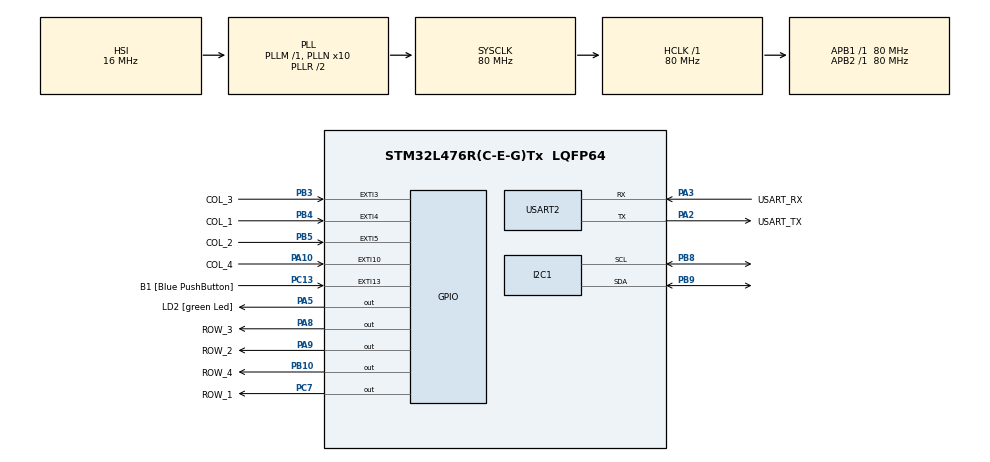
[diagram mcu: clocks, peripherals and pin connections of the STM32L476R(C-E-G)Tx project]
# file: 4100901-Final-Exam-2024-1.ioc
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I2C1.Timing=0x10909CEC
Mcu.Family=STM32L4
Mcu.Name=STM32L476R(C-E-G)Tx
Mcu.Package=LQFP64
NVIC.EXTI15_10_IRQn=true\:0\:0\:false\:false\:true\:true\:true\:true
NVIC.EXTI3_IRQn=true\:0\:0\:false\:false\:true\:true\:true\:true
NVIC.EXTI4_IRQn=true\:0\:0\:false\:false\:true\:true\:true\:true
NVIC.EXTI9_5_IRQn=true\:0\:0\:false\:false\:true\:true\:true\:true
NVIC.PriorityGroup=NVIC_PRIORITYGROUP_4
NVIC.USART2_IRQn=true\:0\:0\:false\:false\:true\:true\:true\:true
PA10.GPIO_Label=COL_4
PA10.GPIO_ModeDefaultEXTI=GPIO_MODE_IT_RISING
PA10.GPIO_PuPd=GPIO_PULLDOWN
PA10.Signal=GPXTI10
PA13\ (JTMS-SWDIO).GPIO_Label=TMS
PA13\ (JTMS-SWDIO).Mode=Serial_Wire
PA13\ (JTMS-SWDIO).Signal=SYS_JTMS-SWDIO
PA14\ (JTCK-SWCLK).GPIO_Label=TCK
PA14\ (JTCK-SWCLK).Mode=Serial_Wire
PA14\ (JTCK-SWCLK).Signal=SYS_JTCK-SWCLK
PA2.GPIO_Label=USART_TX
PA2.GPIO_Mode=GPIO_MODE_AF_PP
PA2.GPIO_PuPd=GPIO_NOPULL
PA2.GPIO_Speed=GPIO_SPEED_FREQ_VERY_HIGH
PA2.Mode=Asynchronous
PA2.Signal=USART2_TX
PA3.GPIO_Label=USART_RX
PA3.GPIO_Mode=GPIO_MODE_AF_PP
PA3.GPIO_PuPd=GPIO_NOPULL
PA3.GPIO_Speed=GPIO_SPEED_FREQ_VERY_HIGH
PA3.Mode=Asynchronous
PA3.Signal=USART2_RX
PA5.GPIO_Label=LD2 [green Led]
PA5.GPIO_ModeDefaultOutputPP=GPIO_MODE_OUTPUT_PP
PA5.GPIO_PuPd=GPIO_NOPULL
PA5.GPIO_Speed=GPIO_SPEED_FREQ_LOW
PA5.Signal=GPIO_Output
PA8.GPIO_Label=ROW_3
PA8.GPIO_Speed=GPIO_SPEED_FREQ_VERY_HIGH
PA8.PinState=GPIO_PIN_SET
PA8.Signal=GPIO_Output
PA9.GPIO_Label=ROW_2
PA9.GPIO_Speed=GPIO_SPEED_FREQ_VERY_HIGH
PA9.PinState=GPIO_PIN_SET
PA9.Signal=GPIO_Output
PB10.GPIO_Label=ROW_4
PB10.GPIO_Speed=GPIO_SPEED_FREQ_VERY_HIGH
PB10.PinState=GPIO_PIN_SET
PB10.Signal=GPIO_Output
PB3\ (JTDO-TRACESWO).GPIO_Label=COL_3
PB3\ (JTDO-TRACESWO).GPIO_ModeDefaultEXTI=GPIO_MODE_IT_RISING
PB3\ (JTDO-TRACESWO).GPIO_PuPd=GPIO_PULLDOWN
PB3\ (JTDO-TRACESWO).Signal=GPXTI3
PB4\ (NJTRST).GPIO_Label=COL_1
PB4\ (NJTRST).GPIO_ModeDefaultEXTI=GPIO_MODE_IT_RISING
PB4\ (NJTRST).GPIO_PuPd=GPIO_PULLDOWN
PB4\ (NJTRST).Signal=GPXTI4
PB5.GPIO_Label=COL_2
PB5.GPIO_ModeDefaultEXTI=GPIO_MODE_IT_RISING
PB5.GPIO_PuPd=GPIO_PULLDOWN
PB5.Signal=GPXTI5
PB8.Mode=I2C
PB8.Signal=I2C1_SCL
PB9.Mode=I2C
PB9.Signal=I2C1_SDA
PC13.GPIO_Label=B1 [Blue PushButton]
PC13.GPIO_ModeDefaultEXTI=GPIO_MODE_IT_FALLING
PC13.GPIO_PuPd=GPIO_NOPULL
PC13.Signal=GPXTI13
PC14-OSC32_IN\ (PC14).Mode=LSE-External-Oscillator
PC14-OSC32_IN\ (PC14).Signal=RCC_OSC32_IN
PC15-OSC32_OUT\ (PC15).Mode=LSE-External-Oscillator
PC15-OSC32_OUT\ (PC15).Signal=RCC_OSC32_OUT
PC7.GPIO_Label=ROW_1
PC7.GPIO_Speed=GPIO_SPEED_FREQ_VERY_HIGH
PC7.PinState=GPIO_PIN_SET
PC7.Signal=GPIO_Output
PH0-OSC_IN\ (PH0).Signal=RCC_OSC_IN
PH1-OSC_OUT\ (PH1).Signal=RCC_OSC_OUT
ProjectManager.HeapSize=0x200
ProjectManager.StackSize=0x400
ProjectManager.TargetToolchain=STM32CubeIDE
RCC.ADCFreq_Value=64000000
RCC.AHBFreq_Value=80000000
RCC.APB1Freq_Value=80000000
RCC.APB1TimFreq_Value=80000000
RCC.APB2Freq_Value=80000000
RCC.APB2TimFreq_Value=80000000
RCC.CortexFreq_Value=80000000
RCC.HCLKFreq_Value=80000000
RCC.HSE_VALUE=8000000
RCC.HSI_VALUE=16000000
RCC.MSI_VALUE=4000000
RCC.PLLN=10
RCC.PLLSourceVirtual=RCC_PLLSOURCE_HSI
RCC.PREFETCH_ENABLE=1
RCC.SYSCLKFreq_VALUE=80000000
RCC.SYSCLKSource=RCC_SYSCLKSOURCE_PLLCLK
RCC.USBFreq_Value=64000000
RCC.VCOOutputFreq_Value=160000000
USART2.VirtualMode-Asynchronous=VM_ASYNC
board=NUCLEO-L476RG

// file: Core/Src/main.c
/* USER CODE BEGIN Header */
/**
  ******************************************************************************
  * @file           : main.c
  * @brief          : Main program body
  ******************************************************************************
  * @attention
  *
  * Copyright (c) 2024 STMicroelectronics.
  * All rights reserved.
  *
  * This software is licensed under terms that can be found in the LICENSE file
  * in the root directory of this software component.
  * If no LICENSE file comes with this software, it is provided AS-IS.
  *
  ******************************************************************************
  */
/* USER CODE END Header */
#include "main.h"

/* USER CODE BEGIN Includes */
#include <stdio.h>

#include "ssd1306.h"
#include "ssd1306_fonts.h"

#include "ring_buffer.h"
#include "keypad.h"
/* USER CODE END Includes */

I2C_HandleTypeDef hi2c1;

UART_HandleTypeDef huart2;

/* USER CODE BEGIN PV */
#define DISPLAY_BUFFER_LEN 6  // Para mostrar hasta 6 caracteres (ajustar si es necesario)

char usart2_display_buffer[DISPLAY_BUFFER_LEN] = {0};  // Buffer para los datos del USART2
char keypad_display_buffer[DISPLAY_BUFFER_LEN] = {0};  // Buffer para los datos del keypad

#define KEYPAD_RB_LEN 4
uint8_t keypad_data = 0xFF;
uint8_t keypad_buffer[KEYPAD_RB_LEN];
ring_buffer_t keypad_rb;

#define USART2_RB_LEN 6
uint8_t usart2_data = 0xFF;
uint8_t usart2_buffer[USART2_RB_LEN];
ring_buffer_t usart2_rb	;
/* USER CODE END PV */

void SystemClock_Config(void);
static void MX_GPIO_Init(void);
static void MX_USART2_UART_Init(void);
static void MX_I2C1_Init(void);

/* USER CODE BEGIN 0 */
int _write(int file, char *ptr, int len)
{
  HAL_UART_Transmit(&huart2, (uint8_t *)ptr, len, 10);
  return len;
}

void HAL_UART_RxCpltCallback(UART_HandleTypeDef *huart)
{
    if (huart->Instance == USART2) {
        // Si el dato es un dígito válido (0-9)
        if (usart2_data >= '0' && usart2_data <= '9') {
            // Mover los datos hacia la izquierda para hacer espacio para el nuevo
            for (int i = 0; i < DISPLAY_BUFFER_LEN - 1; i++) {
                usart2_display_buffer[i] = usart2_display_buffer[i + 1];
            }
            usart2_display_buffer[DISPLAY_BUFFER_LEN - 1] = usart2_data; // Guardar el nuevo dato

            actualizar_pantalla(); // Actualizar la pantalla
        }

        // Volver a habilitar la recepción por interrupción
        HAL_UART_Receive_IT(&huart2, &usart2_data, 1);
    }
}
void limpiar_buffer_usart2(void)
{
    memset(usart2_display_buffer, 0, sizeof(usart2_display_buffer));
}

void limpiar_buffer_keypad(void)
{
    memset(keypad_display_buffer, 0, sizeof(keypad_display_buffer));
}

void HAL_GPIO_EXTI_Callback(uint16_t GPIO_Pin)
{
    uint8_t key_pressed = keypad_scan(GPIO_Pin); // Escanear la tecla presionada
    if (key_pressed != 0xFF) {  // Si una tecla fue presionada
        if (key_pressed == '#') {
            // Reiniciar el buffer de USART2
            limpiar_buffer_usart2();
            actualizar_pantalla();
        } else if (key_pressed == '*') {
            // Reiniciar el buffer del keypad
            limpiar_buffer_keypad();
            actualizar_pantalla();
        } else {
            // Mover los datos hacia la izquierda para hacer espacio para el nuevo
            for (int i = 0; i < DISPLAY_BUFFER_LEN - 1; i++) {
                keypad_display_buffer[i] = keypad_display_buffer[i + 1];
            }
            keypad_display_buffer[DISPLAY_BUFFER_LEN - 1] = key_pressed; // Guardar la tecla presionada

            // Actualizar la pantalla inmediatamente después de agregar el nuevo dígito
            actualizar_pantalla(); // Aseguramos que se llame a la función aquí
        }
    }
}

void actualizar_pantalla(void)
{
    ssd1306_Fill(Black); // Limpiar la pantalla

    // Mostrar datos de USART2
    ssd1306_SetCursor(0, 0);
    ssd1306_WriteString("USART2:", Font_7x10, White);
    ssd1306_SetCursor(60, 0);
    ssd1306_WriteString(usart2_display_buffer, Font_7x10, White);

    // Mostrar datos del keypad
    ssd1306_SetCursor(0, 20);
    ssd1306_WriteString("Keypad:", Font_7x10, White);
    ssd1306_SetCursor(60, 20);
    ssd1306_WriteString(keypad_display_buffer, Font_7x10, White);

    // Actualizar la pantalla OLED
    ssd1306_UpdateScreen();
}

/* USER CODE END 0 */

int main(void)
{

  /* MCU Configuration--------------------------------------------------------*/

  /* Reset of all peripherals, Initializes the Flash interface and the Systick. */
  HAL_Init();

  /* Configure the system clock */
  SystemClock_Config();

  /* Initialize all configured peripherals */
  MX_GPIO_Init();
  MX_USART2_UART_Init();
  MX_I2C1_Init();
  /* USER CODE BEGIN 2 */
  ssd1306_Init();
  ssd1306_Fill(Black);
  ssd1306_SetCursor(20, 20);
  ssd1306_WriteString("Welcome!", Font_7x10, White);
  ssd1306_UpdateScreen();

  HAL_UART_Receive_IT(&huart2, &usart2_data, 1);

  ring_buffer_init(&usart2_rb, usart2_buffer, USART2_RB_LEN);
  ring_buffer_init(&keypad_rb, keypad_buffer, KEYPAD_RB_LEN);
  /* USER CODE END 2 */

  /* Infinite loop */
  /* USER CODE BEGIN WHILE */
  printf("Starting\r\n");
  while (1)
  {
    /* USER CODE END WHILE */

  }
}

void SystemClock_Config(void)
{
  RCC_OscInitTypeDef RCC_OscInitStruct = {0};
  RCC_ClkInitTypeDef RCC_ClkInitStruct = {0};

  /** Configure the main internal regulator output voltage
  */
  if (HAL_PWREx_ControlVoltageScaling(PWR_REGULATOR_VOLTAGE_SCALE1) != HAL_OK)
  {
    Error_Handler();
  }

  /** Initializes the RCC Oscillators according to the specified parameters
  * in the RCC_OscInitTypeDef structure.
  */
  RCC_OscInitStruct.OscillatorType = RCC_OSCILLATORTYPE_HSI;
  RCC_OscInitStruct.HSIState = RCC_HSI_ON;
  RCC_OscInitStruct.HSICalibrationValue = RCC_HSICALIBRATION_DEFAULT;
  RCC_OscInitStruct.PLL.PLLState = RCC_PLL_ON;
  RCC_OscInitStruct.PLL.PLLSource = RCC_PLLSOURCE_HSI;
  RCC_OscInitStruct.PLL.PLLM = 1;
  RCC_OscInitStruct.PLL.PLLN = 10;
  RCC_OscInitStruct.PLL.PLLP = RCC_PLLP_DIV7;
  RCC_OscInitStruct.PLL.PLLQ = RCC_PLLQ_DIV2;
  RCC_OscInitStruct.PLL.PLLR = RCC_PLLR_DIV2;
  if (HAL_RCC_OscConfig(&RCC_OscInitStruct) != HAL_OK)
  {
    Error_Handler();
  }

  /** Initializes the CPU, AHB and APB buses clocks
  */
  RCC_ClkInitStruct.ClockType = RCC_CLOCKTYPE_HCLK|RCC_CLOCKTYPE_SYSCLK
                              |RCC_CLOCKTYPE_PCLK1|RCC_CLOCKTYPE_PCLK2;
  RCC_ClkInitStruct.SYSCLKSource = RCC_SYSCLKSOURCE_PLLCLK;
  RCC_ClkInitStruct.AHBCLKDivider = RCC_SYSCLK_DIV1;
  RCC_ClkInitStruct.APB1CLKDivider = RCC_HCLK_DIV1;
  RCC_ClkInitStruct.APB2CLKDivider = RCC_HCLK_DIV1;

  if (HAL_RCC_ClockConfig(&RCC_ClkInitStruct, FLASH_LATENCY_4) != HAL_OK)
  {
    Error_Handler();
  }
}

static void MX_I2C1_Init(void)
{

  hi2c1.Instance = I2C1;
  hi2c1.Init.Timing = 0x10909CEC;
  hi2c1.Init.OwnAddress1 = 0;
  hi2c1.Init.AddressingMode = I2C_ADDRESSINGMODE_7BIT;
  hi2c1.Init.DualAddressMode = I2C_DUALADDRESS_DISABLE;
  hi2c1.Init.OwnAddress2 = 0;
  hi2c1.Init.OwnAddress2Masks = I2C_OA2_NOMASK;
  hi2c1.Init.GeneralCallMode = I2C_GENERALCALL_DISABLE;
  hi2c1.Init.NoStretchMode = I2C_NOSTRETCH_DISABLE;
  if (HAL_I2C_Init(&hi2c1) != HAL_OK)
  {
    Error_Handler();
  }

  /** Configure Analogue filter
  */
  if (HAL_I2CEx_ConfigAnalogFilter(&hi2c1, I2C_ANALOGFILTER_ENABLE) != HAL_OK)
  {
    Error_Handler();
  }

  /** Configure Digital filter
  */
  if (HAL_I2CEx_ConfigDigitalFilter(&hi2c1, 0) != HAL_OK)
  {
    Error_Handler();
  }

}

static void MX_USART2_UART_Init(void)
{

  huart2.Instance = USART2;
  huart2.Init.BaudRate = 256000;
  huart2.Init.WordLength = UART_WORDLENGTH_8B;
  huart2.Init.StopBits = UART_STOPBITS_1;
  huart2.Init.Parity = UART_PARITY_NONE;
  huart2.Init.Mode = UART_MODE_TX_RX;
  huart2.Init.HwFlowCtl = UART_HWCONTROL_NONE;
  huart2.Init.OverSampling = UART_OVERSAMPLING_16;
  huart2.Init.OneBitSampling = UART_ONE_BIT_SAMPLE_DISABLE;
  huart2.AdvancedInit.AdvFeatureInit = UART_ADVFEATURE_NO_INIT;
  if (HAL_UART_Init(&huart2) != HAL_OK)
  {
    Error_Handler();
  }

}

static void MX_GPIO_Init(void)
{
  GPIO_InitTypeDef GPIO_InitStruct = {0};

  /* GPIO Ports Clock Enable */
  __HAL_RCC_GPIOC_CLK_ENABLE();
  __HAL_RCC_GPIOH_CLK_ENABLE();
  __HAL_RCC_GPIOA_CLK_ENABLE();
  __HAL_RCC_GPIOB_CLK_ENABLE();

  /*Configure GPIO pin Output Level */
  HAL_GPIO_WritePin(LD2_GPIO_Port, LD2_Pin, GPIO_PIN_RESET);

  /*Configure GPIO pin Output Level */
  HAL_GPIO_WritePin(ROW_4_GPIO_Port, ROW_4_Pin, GPIO_PIN_SET);

  /*Configure GPIO pin Output Level */
  HAL_GPIO_WritePin(ROW_1_GPIO_Port, ROW_1_Pin, GPIO_PIN_SET);

  /*Configure GPIO pin Output Level */
  HAL_GPIO_WritePin(GPIOA, ROW_3_Pin|ROW_2_Pin, GPIO_PIN_SET);

  /*Configure GPIO pin : B1_Pin */
  GPIO_InitStruct.Pin = B1_Pin;
  GPIO_InitStruct.Mode = GPIO_MODE_IT_FALLING;
  GPIO_InitStruct.Pull = GPIO_NOPULL;
  HAL_GPIO_Init(B1_GPIO_Port, &GPIO_InitStruct);

  /*Configure GPIO pin : LD2_Pin */
  GPIO_InitStruct.Pin = LD2_Pin;
  GPIO_InitStruct.Mode = GPIO_MODE_OUTPUT_PP;
  GPIO_InitStruct.Pull = GPIO_NOPULL;
  GPIO_InitStruct.Speed = GPIO_SPEED_FREQ_LOW;
  HAL_GPIO_Init(LD2_GPIO_Port, &GPIO_InitStruct);

  /*Configure GPIO pin : ROW_4_Pin */
  GPIO_InitStruct.Pin = ROW_4_Pin;
  GPIO_InitStruct.Mode = GPIO_MODE_OUTPUT_PP;
  GPIO_InitStruct.Pull = GPIO_NOPULL;
  GPIO_InitStruct.Speed = GPIO_SPEED_FREQ_VERY_HIGH;
  HAL_GPIO_Init(ROW_4_GPIO_Port, &GPIO_InitStruct);

  /*Configure GPIO pin : ROW_1_Pin */
  GPIO_InitStruct.Pin = ROW_1_Pin;
  GPIO_InitStruct.Mode = GPIO_MODE_OUTPUT_PP;
  GPIO_InitStruct.Pull = GPIO_NOPULL;
  GPIO_InitStruct.Speed = GPIO_SPEED_FREQ_VERY_HIGH;
  HAL_GPIO_Init(ROW_1_GPIO_Port, &GPIO_InitStruct);

  /*Configure GPIO pins : ROW_3_Pin ROW_2_Pin */
  GPIO_InitStruct.Pin = ROW_3_Pin|ROW_2_Pin;
  GPIO_InitStruct.Mode = GPIO_MODE_OUTPUT_PP;
  GPIO_InitStruct.Pull = GPIO_NOPULL;
  GPIO_InitStruct.Speed = GPIO_SPEED_FREQ_VERY_HIGH;
  HAL_GPIO_Init(GPIOA, &GPIO_InitStruct);

  /*Configure GPIO pin : COL_4_Pin */
  GPIO_InitStruct.Pin = COL_4_Pin;
  GPIO_InitStruct.Mode = GPIO_MODE_IT_RISING;
  GPIO_InitStruct.Pull = GPIO_PULLDOWN;
  HAL_GPIO_Init(COL_4_GPIO_Port, &GPIO_InitStruct);

  /*Configure GPIO pins : COL_3_Pin COL_1_Pin COL_2_Pin */
  GPIO_InitStruct.Pin = COL_3_Pin|COL_1_Pin|COL_2_Pin;
  GPIO_InitStruct.Mode = GPIO_MODE_IT_RISING;
  GPIO_InitStruct.Pull = GPIO_PULLDOWN;
  HAL_GPIO_Init(GPIOB, &GPIO_InitStruct);

  /* EXTI interrupt init*/
  HAL_NVIC_SetPriority(EXTI3_IRQn, 0, 0);
  HAL_NVIC_EnableIRQ(EXTI3_IRQn);

  HAL_NVIC_SetPriority(EXTI4_IRQn, 0, 0);
  HAL_NVIC_EnableIRQ(EXTI4_IRQn);

  HAL_NVIC_SetPriority(EXTI9_5_IRQn, 0, 0);
  HAL_NVIC_EnableIRQ(EXTI9_5_IRQn);

  HAL_NVIC_SetPriority(EXTI15_10_IRQn, 0, 0);
  HAL_NVIC_EnableIRQ(EXTI15_10_IRQn);

}

void Error_Handler(void)
{
  __disable_irq();
  while (1)
  {
  }
}
